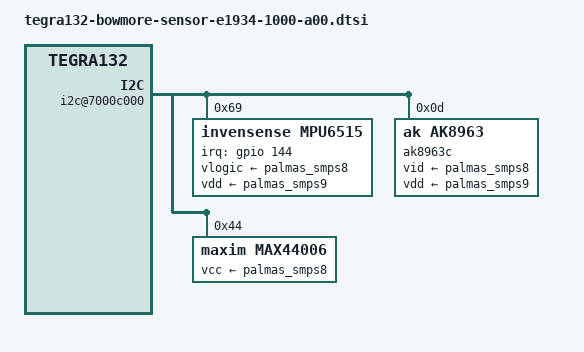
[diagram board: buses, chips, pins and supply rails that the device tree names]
/* Copyright (c) 2015, NVIDIA CORPORATION.  All rights reserved.
 *
 * This program is free software; you can redistribute it and/or modify
 * it under the terms of the GNU General Public License as published by
 * the Free Software Foundation; either version 2 of the License, or
 * (at your option) any later version.
 *
 * This program is distributed in the hope that it will be useful, but WITHOUT
 * ANY WARRANTY; without even the implied warranty of MERCHANTABILITY or
 * FITNESS FOR A PARTICULAR PURPOSE.  See the GNU General Public License for
 * more details.
 *
 * You should have received a copy of the GNU General Public License along
 * with this program; if not, write to the Free Software Foundation, Inc.,
 * 51 Franklin Street, Fifth Floor, Boston, MA  02110-1301, USA.
 */

/ {
	i2c@7000c000 {
		mpu6515@69 {
			compatible = "invensense,mpu6515";
			reg = <0x69>;
			interrupt-parent = <&gpio>;
			interrupts = <144 0x01>;
			invensense,int_config = <0x10>;
			invensense,level_shifter = <0>;
			accelerometer_matrix = [01 00 00 00 01 00 00 00 01];
			gyroscope_matrix = [01 00 00 00 01 00 00 00 01];
			invensense,sec_slave_type = <0>;
			invensense,key = [4e cc 7e eb f6 1e 35 22
					  00 34 0d 65 32 e9 94 89];
			vlogic-supply = <&palmas_smps8>;
			vdd-supply = <&palmas_smps9>;
		};

		ak8963c@0d {
			compatible = "ak,ak8963";
			reg = <0x0d>;
			magnetic_field_matrix = [ff 00 00 00 ff 00 00 00 01];
			config = "mpu";
			vid-supply = <&palmas_smps8>;
			vdd-supply = <&palmas_smps9>;
		};

		max44006@44 {
			compatible = "maxim,max44006";
			reg = <0x44>;
			vcc-supply = <&palmas_smps8>;
		};
	};
};
